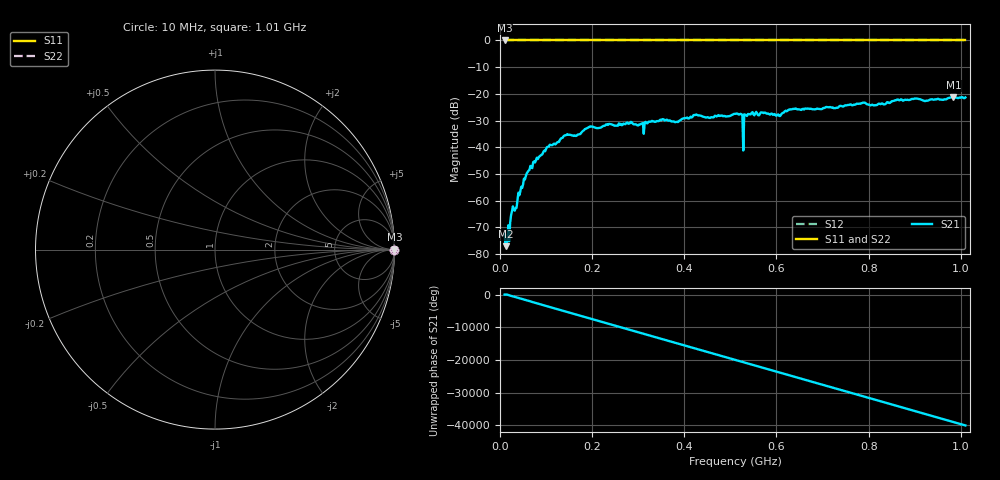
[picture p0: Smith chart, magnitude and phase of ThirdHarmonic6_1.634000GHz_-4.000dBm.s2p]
! 8/16/2025 7:31:58 PM
! C:\ANRITSUVNA\TEMP\TEMP.S2P
! CHANNEL.1
! TR.MEASUREMENT
! RAW.DATA
! RF.CORRECTION.OFF
! AVERAGING.OFF
! IF.BANDWIDTH: 5KHZ
! SWEEPTYPE:  FREQ.SWEEP(Linear)
! Reference Plane Port Info
! PORT:  PORT1  PORT2
! DISTANCE:  0  m  0  m
! TIME:  0  s  0  s
! PHASE.OFFSET:  0  deg.  0  deg.
! LOSS:  0  dB  0  dB
! REF.LOSS:  0  dB  0  dB
! REF.FREQ:  0  Hz  0  Hz
! Power Info
! POWER:  -20  dBm  -20  dBm
! EFF.POWER:  -20  dBm  -20  dBm
! SOURCE.ATTEN:  0  dB  0  dB
! TEST.ATTEN:  0  dB  0  dB
# GHZ S RI R 50.0
! FREQ.GHZ  S11RE  S11IM  S21RE  S21IM  S12RE  S12IM  S22RE  S22IM
!; PortSelection: Port_12
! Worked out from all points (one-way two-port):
!   501 points, 10 MHz to 1.01 GHz, reference 50 ohm
!   highest |S21| = -21.23 dB at 984 MHz (marker M1); lowest = -77.0 dB at 12 MHz (marker M2)
!   lowest |S11| = 0.0 dB at 10 MHz (marker M3)
!   |S11| at or under -10 dB: nowhere
!   |S22| runs from 0.0 to 0.0 dB; largest |S21 - S12| = 1.1
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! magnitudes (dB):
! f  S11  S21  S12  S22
! 10 MHz  0.0  -72.4  0.0  0.0
! 12 MHz  0.0  -77.0  0.0  0.0
! 16 MHz  0.0  -74.9  0.0  0.0
! 26 MHz  0.0  -64.0  0.0  0.0
! 34 MHz  0.0  -62.7  0.0  0.0
! 42 MHz  0.0  -57.9  0.0  0.0
! 56 MHz  0.0  -50.8  0.0  0.0
! 76 MHz  0.0  -45.7  0.0  0.0
! 142 MHz  0.0  -35.5  0.0  0.0
! 178 MHz  0.0  -34.2  0.0  0.0
! 196 MHz  0.0  -32.2  0.0  0.0
! 344 MHz  0.0  -30.2  0.0  0.0
! 510 MHz  0.0  -27.5  0.0  0.0
! 522 MHz  0.0  -27.5  0.0  0.0
! 524 MHz  0.0  -27.6  0.0  0.0
! 532 MHz  0.0  -27.8  0.0  0.0
! 534 MHz  0.0  -28.0  0.0  0.0
! 544 MHz  0.0  -27.7  0.0  0.0
! 678 MHz  0.0  -25.8  0.0  0.0
! 844 MHz  0.0  -23.4  0.0  0.0
! 984 MHz  0.0  -21.2  0.0  0.0
! 1.01 GHz  0.0  -21.3  0.0  0.0
